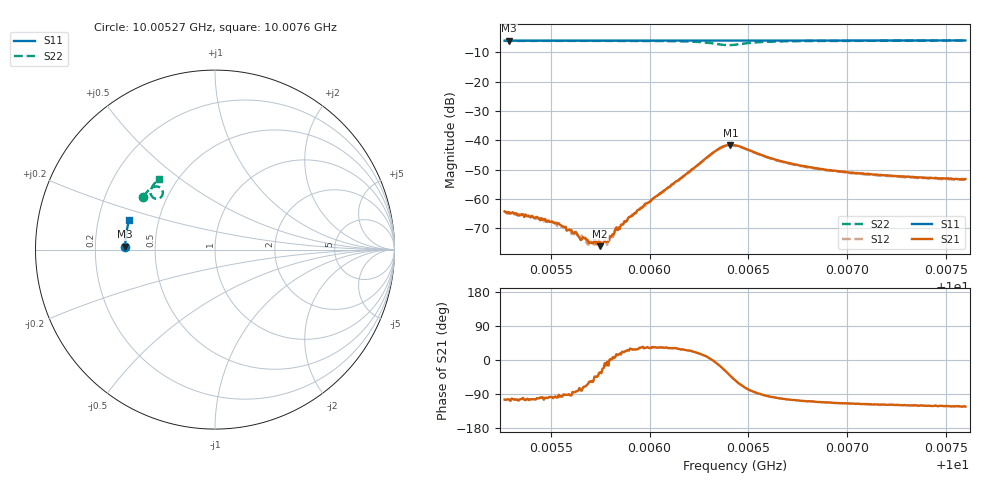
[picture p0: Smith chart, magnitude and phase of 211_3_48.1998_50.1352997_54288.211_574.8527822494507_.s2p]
#  HZ  S  RI  R  50.00
! Rohde & Schwarz Vector Network Analyzer
! Rohde-Schwarz,ZNB20-2Port,1311601062101988,3.16
! Created: UTC 3/20/2024, 11:45:33 AM
! freq[Hz]  re:S11  im:S11  re:S21  im:S21  re:S12  im:S12  re:S22  im:S22
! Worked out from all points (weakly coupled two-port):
!   401 points, 10.00527 GHz to 10.0076 GHz, reference 50 ohm
!   highest |S21| = -41.56 dB at 10.00641 GHz (marker M1); lowest = -76.1 dB at 10.00575 GHz (marker M2)
!   lowest |S11| = -6.0 dB at 10.00529 GHz (marker M3), VSWR 3.00, Z = 16.7 + j0.724 ohm
!   |S11| at or under -10 dB: nowhere
!   |S22| runs from -7.5 to -6.0 dB; largest |S21 - S12| = 0.00048
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1.0005266e10  -0.5002 0.0149  -0.000152 -0.00059  -0.000141 -0.000587  -0.3994 0.2936
1.000529e10  -0.5 0.0163  -0.000149 -0.000575  -0.000124 -0.000552  -0.3984 0.295
1.0005441e10  -0.5 0.0263  -8.9e-05 -0.00045  -8.49e-05 -0.000468  -0.3922 0.3039
1.0005534e10  -0.4998 0.0321  -5.9e-05 -0.000366  -3.55e-05 -0.000338  -0.3881 0.3096
1.0005587e10  -0.4996 0.0358  -8.81e-06 -0.000292  -8.38e-06 -0.000316  -0.3856 0.3128
1.0005657e10  -0.4994 0.0402  3.23e-05 -0.000201  4.61e-05 -0.000233  -0.3821 0.3172
1.000568e10  -0.4992 0.0417  7.67e-05 -0.000183  5.32e-05 -0.000174  -0.3811 0.3186
1.0005703e10  -0.4992 0.0432  0.0001 -0.000146  9.99e-05 -0.00016  -0.3796 0.32
1.0005733e10  -0.4991 0.0452  0.000119 -0.000118  0.000154 -0.000114  -0.3782 0.3219
1.000575e10  -0.499 0.0463  0.000132 -8.33e-05  0.000171 -7.65e-05  -0.3773 0.323
1.0005779e10  -0.499 0.0482  0.000179 -4.65e-05  0.000186 -2.75e-05  -0.3755 0.3248
1.0005797e10  -0.4989 0.0493  0.000229 4.51e-07  0.00019 2.4e-05  -0.3746 0.326
1.0005832e10  -0.4989 0.0515  0.000315 8.59e-05  0.000287 5.88e-05  -0.3724 0.3282
1.0005907e10  -0.4983 0.0565  0.000447 0.000247  0.000437 0.00025  -0.3675 0.3332
1.0006047e10  -0.4976 0.0657  0.000998 0.000637  0.000971 0.000696  -0.3555 0.3429
1.0006333e10  -0.4948 0.0838  0.00656 -0.000689  0.00643 -0.000363  -0.2942 0.3315
1.0006409e10  -0.494 0.0883  0.00621 -0.00558  0.00631 -0.00517  -0.3052 0.2891
1.0006432e10  -0.4938 0.0895  0.0049 -0.00661  0.00515 -0.00623  -0.3189 0.2837
1.0006648e10  -0.4922 0.1034  -0.000819 -0.00449  -0.000608 -0.00444  -0.3592 0.3268
1.0006822e10  -0.4902 0.1145  -0.00113 -0.00326  -0.001 -0.0032  -0.3516 0.3478
1.0007213e10  -0.4845 0.1392  -0.00117 -0.00222  -0.00108 -0.00223  -0.3312 0.3746
1.0007597e10  -0.478 0.163  -0.00119 -0.00183  -0.00107 -0.00182  -0.3114 0.3941
